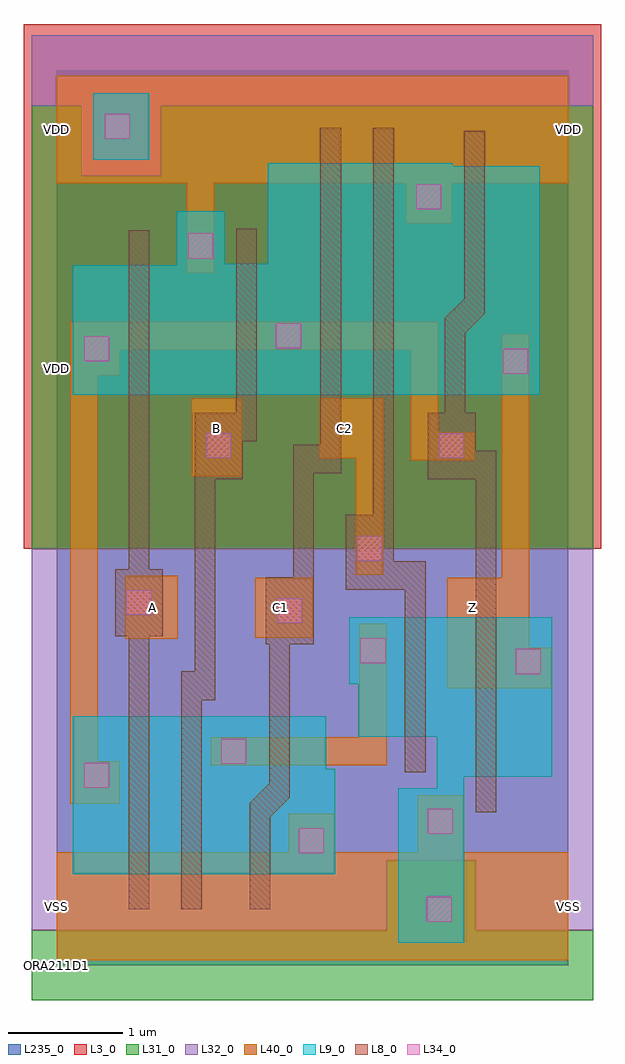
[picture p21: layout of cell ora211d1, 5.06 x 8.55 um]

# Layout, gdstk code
import gdstk
lib = gdstk.Library(unit=1e-6, precision=1e-09)
def R(c, l, rs):  # rectangles x0, y0, x1, y1
    for r in rs: c.add(gdstk.rectangle(r[:2], r[2:], *l))
def P(c, l, *ps):  # polygons
    for p in ps: c.add(gdstk.Polygon(p, *l))
L3_0 = (3, 0)
L8_0 = (8, 0)
L9_0 = (9, 0)
L31_0 = (31, 0)
L32_0 = (32, 0)
L34_0 = (34, 0)
L40_0 = (40, 0)
L235_0 = (235, 0)

ora211d1 = lib.new_cell('ora211d1')
R(ora211d1, L3_0, [(-0.29,3.65,4.77,8.245)])
P(ora211d1, L8_0, [(3.23,3.54),(2.95,3.54),(2.95,7.335),(2.77,7.335),(2.77,3.945),(2.53,3.945),(2.53,3.29),(3.05,3.29),(3.05,1.69),(3.23,1.69)],
  [(1.87,1.295),(2.04,1.465),(2.04,2.81),(2.25,2.81),(2.25,4.31),(2.49,4.31),(2.49,7.335),(2.31,7.335),(2.31,4.56),(2.07,4.56),(2.07,3.4),(1.83,3.4),(1.83,2.81),(1.86,2.81),(1.86,1.595),(1.69,1.425),(1.69,0.49),(1.87,0.49)],
  [(3.85,4.505),(3.67,4.505),(3.67,4.84),(3.58,4.84),(3.58,5.535),(3.75,5.705),(3.75,7.305),(3.57,7.305),(3.57,5.84),(3.4,5.67),(3.4,4.84),(3.25,4.84),(3.25,4.255),(3.67,4.255),(3.67,1.34),(3.85,1.34)],
  [(1.27,2.32),(1.39,2.32),(1.39,4.255),(1.63,4.255),(1.63,4.59),(1.75,4.59),(1.75,6.45),(1.57,6.45),(1.57,4.84),(1.21,4.84),(1.21,2.575),(1.09,2.575),(1.09,0.49),(1.27,0.49)],
  [(0.81,2.88),(0.93,2.88),(0.93,3.47),(0.81,3.47),(0.81,6.44),(0.63,6.44),(0.63,3.47),(0.51,3.47),(0.51,2.88),(0.63,2.88),(0.63,0.49),(0.81,0.49)])
R(ora211d1, L9_0, [(0.32,7.055,0.81,7.64)])
P(ora211d1, L9_0, [(2.36,2.18),(2.36,1.72),(2.44,1.72),(2.44,0.795),(0.14,0.795),(0.14,2.18)],
  [(4.34,3.05),(4.34,1.65),(3.57,1.65),(3.57,0.195),(2.99,0.195),(2.99,1.55),(3.33,1.55),(3.33,2),(2.64,2),(2.64,2.46),(2.56,2.46),(2.56,3.05)],
  [(3.47,7.025),(3.47,7),(4.23,7),(4.23,4.995),(0.14,4.995),(0.14,6.13),(1.05,6.13),(1.05,6.605),(1.47,6.605),(1.47,6.145),(1.85,6.145),(1.85,7.025)])
P(ora211d1, L31_0, [(3.67,0.92),(3.67,0.305),(4.7,0.305),(4.7,-0.305),(-0.22,-0.305),(-0.22,0.305),(2.89,0.305),(2.89,0.92)],
  [(4.7,7.53),(4.7,3.65),(-0.22,3.65),(-0.22,7.53),(0.22,7.53),(0.22,6.915),(0.91,6.915),(0.91,7.53)])
P(ora211d1, L32_0, [(4.7,3.65),(4.7,0.305),(3.67,0.305),(3.67,0.92),(2.89,0.92),(2.89,0.305),(-0.22,0.305),(-0.22,3.65)],
  [(4.7,8.145),(4.7,7.53),(0.91,7.53),(0.91,6.915),(0.22,6.915),(0.22,7.53),(-0.22,7.53),(-0.22,8.145)])
R(ora211d1, L34_0, [(3.24,0.38,3.46,0.6), (2.12,0.98,2.34,1.2), (3.25,1.15,3.47,1.37), (0.24,1.555,0.46,1.775), (1.44,1.765,1.66,1.985), (4.02,2.55,4.24,2.77), (2.66,2.645,2.88,2.865), (1.93,2.995,2.15,3.215), (0.61,3.065,0.83,3.285), (2.63,3.54,2.85,3.76), (1.31,4.44,1.53,4.66), (3.35,4.44,3.57,4.66), (3.91,5.18,4.13,5.4), (0.24,5.29,0.46,5.51), (1.92,5.405,2.14,5.625), (1.15,6.19,1.37,6.41), (3.15,6.62,3.37,6.84), (0.42,7.24,0.64,7.46)])
R(ora211d1, L40_0, [(0.6,2.86,1.06,3.41), (1.74,2.87,2.24,3.395), (1.18,4.285,1.62,4.965)])
P(ora211d1, L40_0, [(0,6.85),(1.14,6.85),(1.14,6.065),(1.38,6.065),(1.38,6.85),(3.06,6.85),(3.06,6.5),(3.46,6.5),(3.46,6.85),(4.48,6.85),(4.48,7.79),(0,7.79)],
  [(2.3,4.44),(2.62,4.44),(2.62,3.42),(2.86,3.42),(2.86,4.965),(2.3,4.965)],
  [(2.89,2.99),(2.65,2.99),(2.65,1.995),(1.35,1.995),(1.35,1.75),(2.89,1.75)],
  [(3.9,5.525),(3.9,3.395),(3.42,3.395),(3.42,2.425),(4.33,2.425),(4.33,2.78),(4.14,2.78),(4.14,5.525)],
  [(0.55,5.17),(0.55,5.39),(3.1,5.39),(3.1,4.425),(3.66,4.425),(3.66,4.67),(3.34,4.67),(3.34,5.635),(0.12,5.635),(0.12,1.415),(0.55,1.415),(0.55,1.785),(0.36,1.785),(0.36,5.17)],
  [(3.16,1.49),(3.16,0.99),(2.43,0.99),(2.43,1.325),(2.03,1.325),(2.03,0.99),(0,0.99),(0,0.045),(4.48,0.045),(4.48,0.99),(3.56,0.99),(3.56,1.49)])
R(ora211d1, L235_0, [(0,0,4.48,7.84)])
ora211d1.add(gdstk.Label('VDD', (0,5.23), layer=40, texttype=7))
ora211d1.add(gdstk.Label('VDD', (0,5.23), layer=40, texttype=7))
ora211d1.add(gdstk.Label('VDD', (0,5.23), layer=40, texttype=7))
ora211d1.add(gdstk.Label('VDD', (0,5.23), layer=40, texttype=7))
ora211d1.add(gdstk.Label('VDD', (0,5.23), layer=40, texttype=7))
ora211d1.add(gdstk.Label('Copyright (c) 2003, 2004 Synopsys, Inc.', (0,-2.24), layer=96, texttype=0))
ora211d1.add(gdstk.Label('DT. 10-Sep-2002 16:47:04', (0,-1.68), layer=96, texttype=0))
ora211d1.add(gdstk.Label('Rev. 1', (0,-1.12), layer=96, texttype=0))
ora211d1.add(gdstk.Label('2/1/1 OR-AND, 1X DRIVE', (0,-0.56), layer=96, texttype=0))
ora211d1.add(gdstk.Label('ORA211D1', (0,0), layer=96, texttype=0))
ora211d1.add(gdstk.Label('VDD', (4.48,7.32), layer=40, texttype=7))
ora211d1.add(gdstk.Label('Z', (3.64,3.135), layer=40, texttype=7))
ora211d1.add(gdstk.Label('C2', (2.52,4.7), layer=40, texttype=7))
ora211d1.add(gdstk.Label('B', (1.4,4.7), layer=40, texttype=7))
ora211d1.add(gdstk.Label('A', (0.84,3.135), layer=40, texttype=7))
ora211d1.add(gdstk.Label('C1', (1.96,3.135), layer=40, texttype=7))
ora211d1.add(gdstk.Label('VSS', (4.48,0.515), layer=40, texttype=7))
ora211d1.add(gdstk.Label('VSS', (0,0.515), layer=40, texttype=7))
ora211d1.add(gdstk.Label('VDD', (0,7.32), layer=40, texttype=7))

lib.write_gds('ora211d1.gds')
